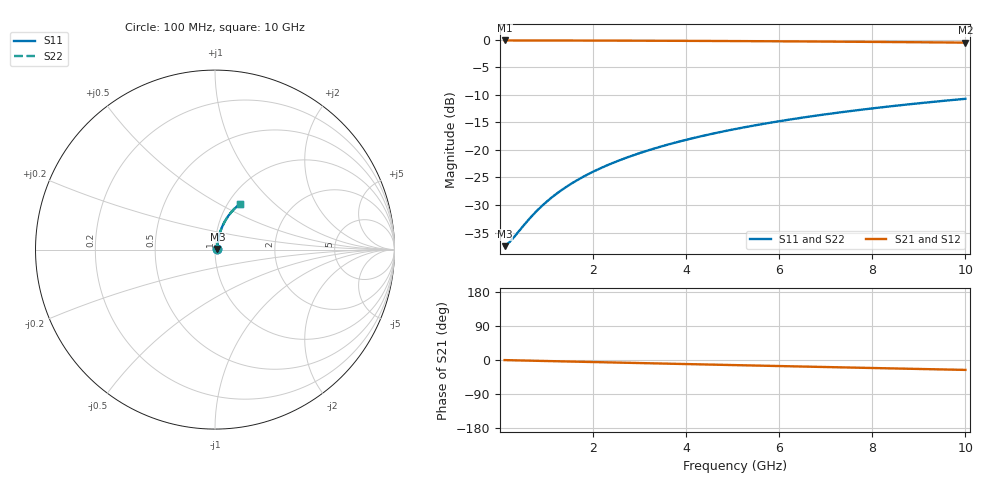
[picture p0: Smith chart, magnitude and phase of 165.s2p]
# Hz S RI R 50.00
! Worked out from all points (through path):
!   100 points, 100 MHz to 10 GHz, reference 50 ohm
!   highest |S21| = -0.11 dB at 100 MHz (marker M1); lowest = -0.5 dB at 10 GHz (marker M2)
!   group delay of S21, straight-line fit = 7.27 ps
!   lowest |S11| = -37.5 dB at 100 MHz (marker M3), VSWR 1.03, Z = 51.3 + j0.312 ohm
!   |S11| at or under -10 dB: start of sweep to end of sweep
!   |S22| runs from -37.5 to -10.7 dB; largest |S21 - S12| = 0
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1e8  0.013 0.00304  0.987 -0.00464  0.987 -0.00464  0.013 0.00304
2e8  0.0131 0.00609  0.9868 -0.00927  0.9868 -0.00927  0.0131 0.00609
3e8  0.0133 0.00913  0.9867 -0.0139  0.9867 -0.0139  0.0133 0.00913
5e8  0.0136 0.0152  0.9864 -0.0232  0.9864 -0.0232  0.0136 0.0152
7e8  0.014 0.0213  0.9859 -0.0324  0.9859 -0.0324  0.014 0.0213
8e8  0.0143 0.0243  0.9856 -0.037  0.9856 -0.037  0.0143 0.0243
1e9  0.0148 0.0304  0.985 -0.0463  0.985 -0.0463  0.0148 0.0304
1.2e9  0.0155 0.0364  0.9843 -0.0555  0.9843 -0.0555  0.0155 0.0364
1.4e9  0.0163 0.0424  0.9834 -0.0647  0.9834 -0.0647  0.0163 0.0424
1.6e9  0.0172 0.0484  0.9825 -0.0739  0.9825 -0.0739  0.0172 0.0484
1.8e9  0.0182 0.0544  0.9814 -0.0831  0.9814 -0.0831  0.0182 0.0544
2.1e9  0.0199 0.0633  0.9795 -0.0968  0.9795 -0.0968  0.0199 0.0633
2.5e9  0.0225 0.0751  0.9766 -0.1149  0.9766 -0.1149  0.0225 0.0751
2.9e9  0.0256 0.0868  0.9733 -0.133  0.9733 -0.133  0.0256 0.0868
3.4e9  0.0301 0.1012  0.9684 -0.1553  0.9684 -0.1553  0.0301 0.1012
4.2e9  0.0385 0.1236  0.9592 -0.1906  0.9592 -0.1906  0.0385 0.1236
5.1e9  0.0499 0.1479  0.9467 -0.2292  0.9467 -0.2292  0.0499 0.1479
5.9e9  0.0616 0.1685  0.9339 -0.2626  0.9339 -0.2626  0.0616 0.1685
6.7e9  0.0746 0.188  0.9195 -0.2949  0.9195 -0.2949  0.0746 0.188
7.5e9  0.0889 0.2063  0.9038 -0.3261  0.9038 -0.3261  0.0889 0.2063
8.4e9  0.1063 0.2254  0.8845 -0.3597  0.8845 -0.3597  0.1063 0.2254
1e10  0.1401 0.2553  0.8467 -0.4154  0.8467 -0.4154  0.1401 0.2553
